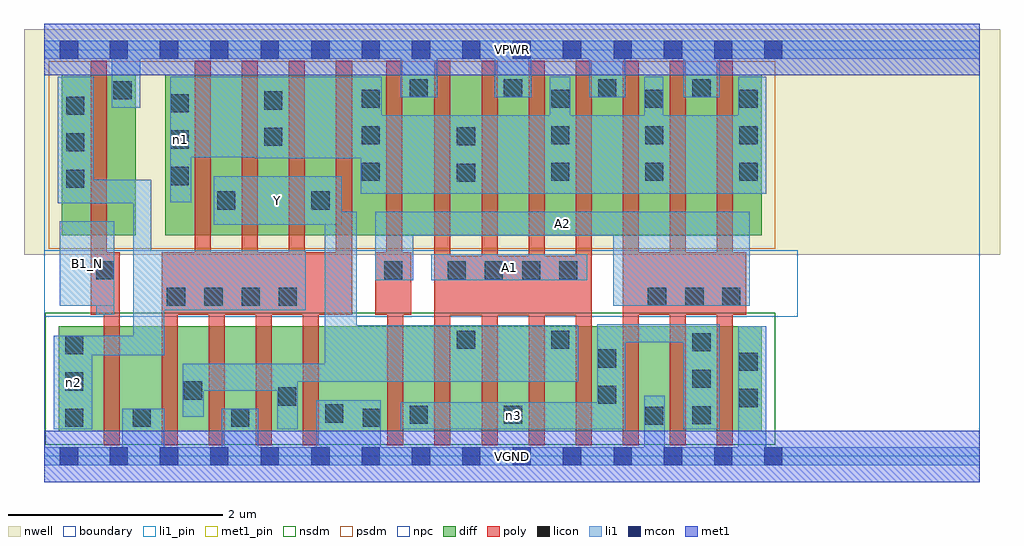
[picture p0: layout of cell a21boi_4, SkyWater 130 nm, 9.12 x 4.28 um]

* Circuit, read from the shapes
.subckt a21boi_4 A1 A2 B1_N VGND VPWR Y n1 n2 n3
XM1 VGND B1_N n2 VSUBS sky130_fd_pr__nfet_01v8 w=0.98 l=0.15
XM2 Y n2 VGND VSUBS sky130_fd_pr__nfet_01v8 w=0.98 l=0.15 m=4
XM3 n3 A2 VGND VSUBS sky130_fd_pr__nfet_01v8 w=0.98 l=0.15 m=4
XM4 Y A1 n3 VSUBS sky130_fd_pr__nfet_01v8 w=0.98 l=0.15 m=4
XM5 VPWR B1_N n2 n4 sky130_fd_pr__pfet_01v8 w=1.5 l=0.15
XM6 Y n2 n1 n4 sky130_fd_pr__pfet_01v8 w=1.5 l=0.15 m=4
XM7 VPWR A2 n1 n4 sky130_fd_pr__pfet_01v8 w=1.5 l=0.15 m=4
XM8 n1 A1 VPWR n4 sky130_fd_pr__pfet_01v8 w=1.5 l=0.15 m=4
.ends

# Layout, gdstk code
import gdstk
lib = gdstk.Library(unit=1e-6, precision=1e-09)
def R(c, l, rs):  # rectangles x0, y0, x1, y1
    for r in rs: c.add(gdstk.rectangle(r[:2], r[2:], *l))
def A(c, l, x, y, w, h, nx, ny, dx, dy):  # array of equal rectangles
    R(c, l, [(x+i*dx, y+j*dy, x+i*dx+w, y+j*dy+h) for i in range(nx) for j in range(ny)])
nwell = (64, 20)
diff = (65, 20)
poly = (66, 20)
licon = (66, 44)
li1_pin = (67, 16)
li1 = (67, 20)
mcon = (67, 44)
met1_pin = (68, 16)
met1 = (68, 20)
nsdm = (93, 44)
psdm = (94, 20)
npc = (95, 20)
boundary = (235, 4)

a21boi_4 = lib.new_cell('a21boi_4')
R(a21boi_4, nwell, [(-0.19,1.885,8.93,3.99), (0,1.885,8.74,3.99)])
R(a21boi_4, diff, [(0.135,0.235,6.705,1.215), (0.165,2.065,0.855,3.565), (1.13,2.065,6.705,3.565)])
A(a21boi_4, poly, 1.095, 0.105, 0.15, 1.8, 4, 1, 0.44, 0)
A(a21boi_4, poly, 3.645, 0.105, 0.15, 3.59, 7, 1, 0.44, 0)
A(a21boi_4, poly, 1.405, 1.325, 0.15, 2.37, 4, 1, 0.44, 0)
R(a21boi_4, poly, [(0.555,0.105,0.705,1.905), (3.205,0.105,3.355,1.905), (3.645,1.32,5.115,1.875), (0.435,1.325,0.585,3.695), (1.095,1.325,2.875,1.905), (3.09,1.325,3.43,1.905), (3.195,1.325,3.345,3.695), (5.405,1.325,6.56,1.905)])
A(a21boi_4, licon, 0.195, 0.275, 0.17, 0.17, 1, 3, 0, 0.34)
A(a21boi_4, licon, 6.055, 0.3, 0.17, 0.17, 1, 3, 0, 0.34)
A(a21boi_4, licon, 1.145, 1.405, 0.17, 0.17, 3, 1, 0.35, 0)
A(a21boi_4, licon, 0.205, 2.51, 0.17, 0.17, 1, 3, 0, 0.34)
A(a21boi_4, licon, 1.18, 2.535, 0.17, 0.17, 1, 3, 0, 0.34)
A(a21boi_4, licon, 2.965, 2.575, 0.17, 0.17, 1, 3, 0, 0.34)
A(a21boi_4, licon, 4.735, 2.575, 0.17, 0.17, 3, 3, 0.88, 0.34)
A(a21boi_4, licon, 3.415, 3.355, 0.17, 0.17, 4, 1, 0.88, 0)
R(a21boi_4, licon, [(0.825,0.275,0.995,0.445), (1.745,0.275,1.915,0.445), (2.975,0.275,3.145,0.445), (5.615,0.295,5.785,0.465), (3.415,0.305,3.585,0.475), (4.295,0.305,4.465,0.475), (2.625,0.315,2.795,0.485), (6.495,0.46,6.665,0.63), (2.185,0.475,2.355,0.645), (5.175,0.49,5.345,0.66), (1.305,0.53,1.475,0.7), (6.495,0.8,6.665,0.97), (5.175,0.83,5.345,1), (3.855,1.005,4.025,1.175), (4.735,1.005,4.905,1.175), (2.19,1.405,2.36,1.575), (5.64,1.405,5.81,1.575), (5.99,1.405,6.16,1.575), (6.335,1.405,6.505,1.575), (0.485,1.655,0.655,1.825), (3.175,1.655,3.345,1.825), (3.77,1.655,3.94,1.825), (4.115,1.655,4.285,1.825), (4.465,1.655,4.635,1.825), (4.81,1.655,4.98,1.825), (1.615,2.305,1.785,2.475), (2.495,2.305,2.665,2.475), (3.855,2.565,4.025,2.735), (2.055,2.9,2.225,3.07), (3.855,2.905,4.025,3.075), (2.055,3.24,2.225,3.41), (0.645,3.335,0.815,3.505)])
R(a21boi_4, li1_pin, [(0.145,1.405,0.655,2.195), (3.615,1.645,5.075,1.89), (3.09,2.06,6.59,2.285), (1.585,2.165,2.78,2.615)])
A(a21boi_4, li1, 3.33, 3.355, 0.34, 0.53, 4, 1, 0.88, 0)
R(a21boi_4, li1, [(0,-0.085,8.74,0.085), (0.73,-0.085,1.12,0.445), (1.66,-0.085,2,0.445), (2.54,-0.085,3.145,0.525), (5.605,-0.085,5.795,0.565), (6.485,-0.085,6.745,1.215), (0.09,0.255,0.45,1.125), (2.175,0.255,2.37,0.865), (3.33,0.255,5.43,0.505), (5.165,0.255,5.43,1.235), (5.97,0.255,6.31,1.235), (1.295,0.37,1.49,0.865), (1.295,0.615,2.37,0.865), (1.295,0.695,4.99,0.865), (2.62,0.695,4.99,1.225), (0.09,0.945,1.12,1.125), (0.83,0.945,1,2.585), (0.83,0.945,1.12,1.925), (3.32,1.005,4.99,1.225), (5.165,1.065,6.31,1.235), (2.62,1.225,2.92,2.285), (0.485,1.325,0.655,2.195), (0.83,1.365,2.445,1.925), (0.145,1.405,0.655,2.195), (5.315,1.405,6.59,2.285), (3.09,1.645,3.445,2.285), (3.615,1.645,5.075,1.89), (3.09,2.06,6.59,2.285), (1.585,2.165,2.78,2.615), (0.125,2.365,0.46,3.545), (0.125,2.365,1,2.585), (1.175,2.375,1.375,3.545), (2.955,2.455,6.745,3.185), (2.955,2.455,3.155,3.545), (4.725,2.455,4.915,3.545), (5.605,2.455,5.785,3.545), (6.485,2.455,6.745,3.545), (1.97,2.785,3.155,3.545), (1.175,2.795,3.155,3.545), (0.63,3.255,0.895,3.885), (0,3.715,8.74,3.885)])
A(a21boi_4, mcon, 0.61, -0.085, 0.17, 0.17, 4, 2, 0.47, 3.8)
A(a21boi_4, mcon, 2.495, -0.085, 0.17, 0.17, 6, 2, 0.47, 3.8)
A(a21boi_4, mcon, 5.32, -0.085, 0.17, 0.17, 3, 2, 0.47, 3.8)
R(a21boi_4, mcon, [(0.145,-0.085,0.315,0.085), (6.725,-0.085,6.895,0.085), (0.145,3.715,0.315,3.885), (6.725,3.715,6.895,3.885)])
R(a21boi_4, met1_pin, [(0,-0.24,8.74,0.24), (0,3.56,8.74,4.04)])
R(a21boi_4, met1, [(0,-0.24,8.74,0.24), (0,3.56,8.74,4.04)])
R(a21boi_4, nsdm, [(0.01,0.11,6.83,1.34)])
R(a21boi_4, psdm, [(0.04,1.94,6.83,3.69)])
R(a21boi_4, npc, [(0,1.305,7.04,1.925)])
R(a21boi_4, boundary, [(0,0,8.74,3.8)])
a21boi_4.add(gdstk.Label('A1', (4.345,1.767), layer=67, texttype=5))
a21boi_4.add(gdstk.Label('A2', (4.84,2.172), layer=67, texttype=5))
a21boi_4.add(gdstk.Label('B1_N', (0.4,1.8), layer=67, texttype=5))
a21boi_4.add(gdstk.Label('Y', (2.182,2.39), layer=67, texttype=5))
a21boi_4.add(gdstk.Label('n3', (4.38,0.38), layer=67, texttype=5))
a21boi_4.add(gdstk.Label('n2', (0.27,0.69), layer=67, texttype=5))
a21boi_4.add(gdstk.Label('n1', (1.275,2.96), layer=67, texttype=5))
a21boi_4.add(gdstk.Label('VPWR', (4.37,3.8), layer=68, texttype=5))
a21boi_4.add(gdstk.Label('VGND', (4.37,0), layer=68, texttype=5))
a21boi_4.add(gdstk.Label('A1', (4.345,1.767), layer=67, texttype=16))
a21boi_4.add(gdstk.Label('A2', (4.84,2.172), layer=67, texttype=16))
a21boi_4.add(gdstk.Label('B1_N', (0.4,1.8), layer=67, texttype=16))
a21boi_4.add(gdstk.Label('Y', (2.182,2.39), layer=67, texttype=16))
a21boi_4.add(gdstk.Label('VPWR', (4.37,3.8), layer=68, texttype=16))
a21boi_4.add(gdstk.Label('VGND', (4.37,0), layer=68, texttype=16))

lib.write_gds('a21boi_4.gds')
